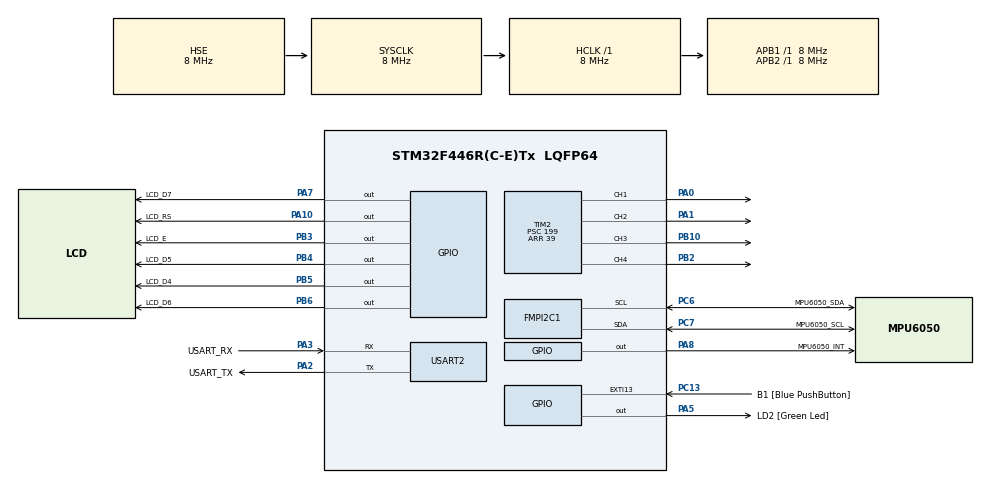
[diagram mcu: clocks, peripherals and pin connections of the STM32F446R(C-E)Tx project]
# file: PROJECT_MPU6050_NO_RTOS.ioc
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FMPI2C1.FMPI2C_Speed_Mode=FMPI2C_Fast
FMPI2C1.Timing=0x0000020B
Mcu.Family=STM32F4
Mcu.Name=STM32F446R(C-E)Tx
Mcu.Package=LQFP64
NVIC.PriorityGroup=NVIC_PRIORITYGROUP_0
NVIC.TIM2_IRQn=true\:0\:0\:false\:false\:true\:true\:true\:true
PA0-WKUP.Signal=S_TIM2_CH1_ETR
PA1.Signal=S_TIM2_CH2
PA10.GPIO_Label=LCD_RS
PA10.Signal=GPIO_Output
PA13.GPIO_Label=TMS
PA13.Mode=Serial_Wire
PA13.Signal=SYS_JTMS-SWDIO
PA14.GPIO_Label=TCK
PA14.Mode=Serial_Wire
PA14.Signal=SYS_JTCK-SWCLK
PA2.GPIO_Label=USART_TX
PA2.Mode=Asynchronous
PA2.Signal=USART2_TX
PA3.GPIO_Label=USART_RX
PA3.Mode=Asynchronous
PA3.Signal=USART2_RX
PA5.GPIO_Label=LD2 [Green Led]
PA5.Signal=GPIO_Output
PA7.GPIO_Label=LCD_D7
PA7.Signal=GPIO_Output
PA8.GPIO_Label=MPU6050_INT
PA8.Signal=GPIO_Output
PB10.Signal=S_TIM2_CH3
PB2.Signal=S_TIM2_CH4
PB3.GPIO_Label=LCD_E
PB3.Signal=GPIO_Output
PB4.GPIO_Label=LCD_D5
PB4.Signal=GPIO_Output
PB5.GPIO_Label=LCD_D4
PB5.Signal=GPIO_Output
PB6.GPIO_Label=LCD_D6
PB6.Signal=GPIO_Output
PC13.GPIO_Label=B1 [Blue PushButton]
PC13.GPIO_ModeDefaultEXTI=GPIO_MODE_IT_FALLING
PC13.Signal=GPXTI13
PC14-OSC32_IN.Mode=LSE-External-Oscillator
PC14-OSC32_IN.Signal=RCC_OSC32_IN
PC15-OSC32_OUT.Mode=LSE-External-Oscillator
PC15-OSC32_OUT.Signal=RCC_OSC32_OUT
PC6.GPIO_Label=MPU6050_SDA
PC6.Mode=I2C
PC6.Signal=FMPI2C1_SCL
PC7.GPIO_Label=MPU6050_SCL
PC7.Mode=I2C
PC7.Signal=FMPI2C1_SDA
PH0-OSC_IN.Mode=HSE-External-Oscillator
PH0-OSC_IN.Signal=RCC_OSC_IN
PH1-OSC_OUT.Mode=HSE-External-Oscillator
PH1-OSC_OUT.Signal=RCC_OSC_OUT
ProjectManager.HeapSize=0x200
ProjectManager.StackSize=0x400
ProjectManager.TargetToolchain=CMake
RCC.48MHZClocksFreq_Value=84000000
RCC.AHBFreq_Value=8000000
RCC.APB1Freq_Value=8000000
RCC.APB1TimFreq_Value=8000000
RCC.APB2Freq_Value=8000000
RCC.APB2TimFreq_Value=8000000
RCC.CortexFreq_Value=8000000
RCC.FLatency-AdvancedSettings=FLASH_LATENCY_0
RCC.HCLKFreq_Value=8000000
RCC.HSE_VALUE=8000000
RCC.HSI_VALUE=16000000
RCC.PLLN=336
RCC.PLLP=RCC_PLLP_DIV4
RCC.SYSCLKFreq_VALUE=8000000
RCC.SYSCLKSource=RCC_SYSCLKSOURCE_HSE
RCC.USBFreq_Value=168000000
RCC.VCOOutputFreq_Value=336000000
SH.S_TIM2_CH1_ETR.0=TIM2_CH1,PWM Generation1 CH1
SH.S_TIM2_CH2.0=TIM2_CH2,PWM Generation2 CH2
SH.S_TIM2_CH3.0=TIM2_CH3,PWM Generation3 CH3
SH.S_TIM2_CH4.0=TIM2_CH4,PWM Generation4 CH4
TIM2.Channel-PWM\ Generation1\ CH1=TIM_CHANNEL_1
TIM2.Channel-PWM\ Generation2\ CH2=TIM_CHANNEL_2
TIM2.Channel-PWM\ Generation3\ CH3=TIM_CHANNEL_3
TIM2.Channel-PWM\ Generation4\ CH4=TIM_CHANNEL_4
TIM2.Period=39
TIM2.Prescaler=199
TIM2.TIM_MasterOutputTrigger=TIM_TRGO_UPDATE
USART2.VirtualMode=VM_ASYNC
VP_TIM2_VS_ClockSourceINT.Mode=Internal
board=NUCLEO-F446RE

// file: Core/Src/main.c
/* USER CODE BEGIN Header */
/**
  ******************************************************************************
  * @file           : main.c
  * @brief          : Main program body
  ******************************************************************************
  * @attention
  *
  * Copyright (c) 2025 STMicroelectronics.
  * All rights reserved.
  *
  * This software is licensed under terms that can be found in the LICENSE file
  * in the root directory of this software component.
  * If no LICENSE file comes with this software, it is provided AS-IS.
  *
  ******************************************************************************
  */
/* USER CODE END Header */
#include "main.h"

FMPI2C_HandleTypeDef hfmpi2c1;

TIM_HandleTypeDef htim2;

UART_HandleTypeDef huart2;

void SystemClock_Config(void);
static void MX_GPIO_Init(void);
static void MX_USART2_UART_Init(void);
static void MX_FMPI2C1_Init(void);
static void MX_TIM2_Init(void);

/* USER CODE BEGIN 0 */

uint32_t g_counter = 0;
volatile uint32_t g_channel_1_state = 16;
volatile uint32_t g_channel_2_state = 8;

mpu6050_accel_data_t g_accel_data;
int16_t roll_angle;
int16_t roll_angle_filtered;
int16_t abs_roll_angle_filtered;
int16_t pitch_angle;
int16_t pitch_angle_filtered;
int16_t abs_pitch_angle_filtered;

const mpu6050_accel_data_t error_offset = {
  .x = 490,
  .y = -40,
  .z = 16788 - 16384
};

#define PWM_PULSE_MIN 0
#define PWM_PULSE_MAX 40

#define ANGLE_POS_MIN 0
#define ANGLE_POS_MAX 90

#define GRID_SIZE 10
char grid[GRID_SIZE][GRID_SIZE];
char uart_buffer[128];

// Normalize accelerometer value to grid index
int map_to_grid_index(int16_t accel, int16_t min_val, int16_t max_val) {
    if (accel < min_val) accel = min_val;
    if (accel > max_val) accel = max_val;
    return ((accel - min_val) * (GRID_SIZE - 1)) / (max_val - min_val);
}

void draw_grid(int16_t x, int16_t y) {
    // Clear screen and move cursor to home
    HAL_UART_Transmit(&huart2, (uint8_t*)"\033[2J\033[H", strlen("\033[2J\033[H"), 100);

    // Clear grid
    for (int i = 0; i < GRID_SIZE; i++)
        for (int j = 0; j < GRID_SIZE; j++)
            grid[i][j] = '.';

    // Map to grid coordinates
    int gx = map_to_grid_index(x, -16000, 16000);
    int gy = map_to_grid_index(y, -16000, 16000);

    grid[gy][gx] = 'X';  // Place marker

    // Print grid to UART
    for (int i = 0; i < GRID_SIZE; i++) {
        int idx = 0;
        for (int j = 0; j < GRID_SIZE; j++)
            uart_buffer[idx++] = grid[i][j];
        uart_buffer[idx++] = '\r';
        uart_buffer[idx++] = '\n';
        HAL_UART_Transmit(&huart2, (uint8_t *)uart_buffer, idx, 100);
    }

    HAL_UART_Transmit(&huart2, (uint8_t *)"\r\n", 2, 100); // newline
}

//map function: re-maps a number from one range to another

long map(long x, long in_min, long in_max, long out_min, long out_max){
  // perform mapping

  long result = (x - in_min) * (out_max - out_min) / (in_max - in_min) + out_min;

  //clam the result to the output range

  if (result > out_max){
    result = out_max;
  }else if (result < out_min){
    result = out_min;
  }
  return result;
}

void change_pwm_duty_cycle(uint32_t pwm_pulse, uint8_t timer_channel){
  __HAL_TIM_SET_COMPARE(&htim2, timer_channel, pwm_pulse);
}

/* USER CODE END 0 */

int main(void)
{

  /* USER CODE BEGIN 1 */
  float dt = 0;
  /* USER CODE END 1 */

  /* MCU Configuration--------------------------------------------------------*/

  /* Reset of all peripherals, Initializes the Flash interface and the Systick. */
  HAL_Init();

  /* Configure the system clock */
  SystemClock_Config();

  /* Initialize all configured peripherals */
  MX_GPIO_Init();
  MX_USART2_UART_Init();
  MX_FMPI2C1_Init();
  MX_TIM2_Init();
  /* USER CODE BEGIN 2 */

  KalmanFilter kf_roll;
  kalman_filter_init(&kf_roll);

  KalmanFilter kf_pitch;
  kalman_filter_init(&kf_pitch);

  if (mpu6050_init(&hfmpi2c1, MPU6050_I2C_ADDR) != MPU6050_OK){
    Error_Handler();
  }

#if 1
  if (mpu6050_configure_low_pass_filter(&hfmpi2c1, DLPF_CFG_21HZ) != MPU6050_OK){
    Error_Handler();
  }
#endif

  __HAL_TIM_ENABLE_IT(&htim2, TIM_IT_UPDATE);

  if (HAL_TIM_PWM_Start_IT(&htim2, TIM_CHANNEL_1) != HAL_OK){
    Error_Handler();
  }

  if (HAL_TIM_PWM_Start_IT(&htim2, TIM_CHANNEL_2) != HAL_OK){
    Error_Handler();
  }

  if (HAL_TIM_PWM_Start_IT(&htim2, TIM_CHANNEL_3) != HAL_OK){
    Error_Handler();
  }

  if (HAL_TIM_PWM_Start_IT(&htim2, TIM_CHANNEL_4) != HAL_OK){
    Error_Handler();
  }

  uint32_t previous_tick = HAL_GetTick();

  Lcd_PortType ports[] = { LCD_D4_GPIO_Port, LCD_D5_GPIO_Port, LCD_D6_GPIO_Port, LCD_D7_GPIO_Port };
  Lcd_PinType pins[] = {LCD_D4_Pin, LCD_D5_Pin, LCD_D6_Pin, LCD_D7_Pin};
  Lcd_HandleTypeDef lcd;
  lcd = Lcd_create(ports, pins, LCD_RS_GPIO_Port, LCD_RS_Pin, LCD_E_GPIO_Port, LCD_E_Pin, LCD_4_BIT_MODE);
  Lcd_cursor(&lcd, 0,1);
  Lcd_string(&lcd, "Orientation PWM");
  HAL_Delay(500);

  /* USER CODE END 2 */

  /* Infinite loop */
  while (1)
  {

    /* USER CODE BEGIN 3 */

    uint32_t current_tick = HAL_GetTick();
    dt = (current_tick - previous_tick) / 1000.0f;
    previous_tick = current_tick;

#ifdef PWM_DEBUG
    g_counter = __HAL_TIM_GET_COUNTER(&htim2);
#endif
    if (mpu6050_read_accelerometer_data(&hfmpi2c1, MPU6050_I2C_ADDR, &g_accel_data) != MPU6050_OK){
      Error_Handler();
    }

    g_accel_data = mpu6050_accelerometer_callibration(&error_offset, &g_accel_data);

    roll_angle = atan2(g_accel_data.y, g_accel_data.z) * (180 / M_PI);
    pitch_angle = atan2((-g_accel_data.x), sqrt(g_accel_data.y * g_accel_data.y + g_accel_data.z *g_accel_data.z)) * (180 / M_PI);

    roll_angle_filtered = (int16_t)kalman_filter_get_angle(&kf_roll, roll_angle, dt);
    pitch_angle_filtered = (int16_t)kalman_filter_get_angle(&kf_pitch, pitch_angle, dt);

    uint8_t raw_channel = (roll_angle_filtered < 0) ? TIM_CHANNEL_1 : TIM_CHANNEL_2;
    uint8_t pitch_channel = (pitch_angle_filtered < 0) ? TIM_CHANNEL_3 : TIM_CHANNEL_4;

    abs_roll_angle_filtered = (roll_angle_filtered < 0 ) ? -roll_angle_filtered : roll_angle_filtered;
    abs_pitch_angle_filtered = (pitch_angle_filtered < 0 ) ? -pitch_angle_filtered : pitch_angle_filtered;

    uint32_t raw_pwm_pulse = map(abs_roll_angle_filtered, ANGLE_POS_MIN, ANGLE_POS_MAX, PWM_PULSE_MIN, PWM_PULSE_MAX);
    uint32_t pitch_pwm_pulse = map(abs_pitch_angle_filtered, ANGLE_POS_MIN, ANGLE_POS_MAX, PWM_PULSE_MIN, PWM_PULSE_MAX);

    change_pwm_duty_cycle(raw_pwm_pulse, raw_channel);
    change_pwm_duty_cycle(pitch_pwm_pulse, pitch_channel);

    //draw_grid(-g_accel_data.y, -g_accel_data.x);
#if 0
    // Format buffer with roll and pitch
    char lcd_line1[17];
    char lcd_line2[17];

    snprintf(lcd_line1, sizeof(lcd_line1), "Roll: %+3d deg", roll_angle_filtered);
    snprintf(lcd_line2, sizeof(lcd_line2), "Pitch: %+3d deg", pitch_angle_filtered);

    // Clear screen and update LCD
    Lcd_clear(&lcd);
    Lcd_cursor(&lcd, 0, 0);
    Lcd_string(&lcd, lcd_line1);
    Lcd_cursor(&lcd, 1, 0);
    Lcd_string(&lcd, lcd_line2);
#endif
    //HAL_Delay(100);
  }
  /* USER CODE END 3 */
}

void SystemClock_Config(void)
{
  RCC_OscInitTypeDef RCC_OscInitStruct = {0};
  RCC_ClkInitTypeDef RCC_ClkInitStruct = {0};

  /** Configure the main internal regulator output voltage
  */
  __HAL_RCC_PWR_CLK_ENABLE();
  __HAL_PWR_VOLTAGESCALING_CONFIG(PWR_REGULATOR_VOLTAGE_SCALE3);

  /** Initializes the RCC Oscillators according to the specified parameters
  * in the RCC_OscInitTypeDef structure.
  */
  RCC_OscInitStruct.OscillatorType = RCC_OSCILLATORTYPE_HSE;
  RCC_OscInitStruct.HSEState = RCC_HSE_ON;
  RCC_OscInitStruct.PLL.PLLState = RCC_PLL_NONE;
  if (HAL_RCC_OscConfig(&RCC_OscInitStruct) != HAL_OK)
  {
    Error_Handler();
  }

  /** Initializes the CPU, AHB and APB buses clocks
  */
  RCC_ClkInitStruct.ClockType = RCC_CLOCKTYPE_HCLK|RCC_CLOCKTYPE_SYSCLK
                              |RCC_CLOCKTYPE_PCLK1|RCC_CLOCKTYPE_PCLK2;
  RCC_ClkInitStruct.SYSCLKSource = RCC_SYSCLKSOURCE_HSE;
  RCC_ClkInitStruct.AHBCLKDivider = RCC_SYSCLK_DIV1;
  RCC_ClkInitStruct.APB1CLKDivider = RCC_HCLK_DIV1;
  RCC_ClkInitStruct.APB2CLKDivider = RCC_HCLK_DIV1;

  if (HAL_RCC_ClockConfig(&RCC_ClkInitStruct, FLASH_LATENCY_0) != HAL_OK)
  {
    Error_Handler();
  }
}

static void MX_FMPI2C1_Init(void)
{

  hfmpi2c1.Instance = FMPI2C1;
  hfmpi2c1.Init.Timing = 0x0000020B;
  hfmpi2c1.Init.OwnAddress1 = 0;
  hfmpi2c1.Init.AddressingMode = FMPI2C_ADDRESSINGMODE_7BIT;
  hfmpi2c1.Init.DualAddressMode = FMPI2C_DUALADDRESS_DISABLE;
  hfmpi2c1.Init.OwnAddress2 = 0;
  hfmpi2c1.Init.OwnAddress2Masks = FMPI2C_OA2_NOMASK;
  hfmpi2c1.Init.GeneralCallMode = FMPI2C_GENERALCALL_DISABLE;
  hfmpi2c1.Init.NoStretchMode = FMPI2C_NOSTRETCH_DISABLE;
  if (HAL_FMPI2C_Init(&hfmpi2c1) != HAL_OK)
  {
    Error_Handler();
  }

  /** Configure Analogue filter
  */
  if (HAL_FMPI2CEx_ConfigAnalogFilter(&hfmpi2c1, FMPI2C_ANALOGFILTER_ENABLE) != HAL_OK)
  {
    Error_Handler();
  }

}

static void MX_TIM2_Init(void)
{

  TIM_ClockConfigTypeDef sClockSourceConfig = {0};
  TIM_MasterConfigTypeDef sMasterConfig = {0};
  TIM_OC_InitTypeDef sConfigOC = {0};

  htim2.Instance = TIM2;
  htim2.Init.Prescaler = 199;
  htim2.Init.CounterMode = TIM_COUNTERMODE_UP;
  htim2.Init.Period = 39;
  htim2.Init.ClockDivision = TIM_CLOCKDIVISION_DIV1;
  htim2.Init.AutoReloadPreload = TIM_AUTORELOAD_PRELOAD_DISABLE;
  if (HAL_TIM_Base_Init(&htim2) != HAL_OK)
  {
    Error_Handler();
  }
  sClockSourceConfig.ClockSource = TIM_CLOCKSOURCE_INTERNAL;
  if (HAL_TIM_ConfigClockSource(&htim2, &sClockSourceConfig) != HAL_OK)
  {
    Error_Handler();
  }
  if (HAL_TIM_PWM_Init(&htim2) != HAL_OK)
  {
    Error_Handler();
  }
  sMasterConfig.MasterOutputTrigger = TIM_TRGO_UPDATE;
  sMasterConfig.MasterSlaveMode = TIM_MASTERSLAVEMODE_DISABLE;
  if (HAL_TIMEx_MasterConfigSynchronization(&htim2, &sMasterConfig) != HAL_OK)
  {
    Error_Handler();
  }
  sConfigOC.OCMode = TIM_OCMODE_PWM1;
  sConfigOC.Pulse = 0;
  sConfigOC.OCPolarity = TIM_OCPOLARITY_HIGH;
  sConfigOC.OCFastMode = TIM_OCFAST_DISABLE;
  if (HAL_TIM_PWM_ConfigChannel(&htim2, &sConfigOC, TIM_CHANNEL_1) != HAL_OK)
  {
    Error_Handler();
  }
  if (HAL_TIM_PWM_ConfigChannel(&htim2, &sConfigOC, TIM_CHANNEL_2) != HAL_OK)
  {
    Error_Handler();
  }
  if (HAL_TIM_PWM_ConfigChannel(&htim2, &sConfigOC, TIM_CHANNEL_3) != HAL_OK)
  {
    Error_Handler();
  }
  if (HAL_TIM_PWM_ConfigChannel(&htim2, &sConfigOC, TIM_CHANNEL_4) != HAL_OK)
  {
    Error_Handler();
  }
  HAL_TIM_MspPostInit(&htim2);

}

static void MX_USART2_UART_Init(void)
{

  huart2.Instance = USART2;
  huart2.Init.BaudRate = 115200;
  huart2.Init.WordLength = UART_WORDLENGTH_8B;
  huart2.Init.StopBits = UART_STOPBITS_1;
  huart2.Init.Parity = UART_PARITY_NONE;
  huart2.Init.Mode = UART_MODE_TX_RX;
  huart2.Init.HwFlowCtl = UART_HWCONTROL_NONE;
  huart2.Init.OverSampling = UART_OVERSAMPLING_16;
  if (HAL_UART_Init(&huart2) != HAL_OK)
  {
    Error_Handler();
  }

}

static void MX_GPIO_Init(void)
{
  GPIO_InitTypeDef GPIO_InitStruct = {0};

  /* GPIO Ports Clock Enable */
  __HAL_RCC_GPIOC_CLK_ENABLE();
  __HAL_RCC_GPIOH_CLK_ENABLE();
  __HAL_RCC_GPIOA_CLK_ENABLE();
  __HAL_RCC_GPIOB_CLK_ENABLE();

  /*Configure GPIO pin Output Level */
  HAL_GPIO_WritePin(GPIOA, LD2_Pin|LCD_D7_Pin|MPU6050_INT_Pin|LCD_RS_Pin, GPIO_PIN_RESET);

  /*Configure GPIO pin Output Level */
  HAL_GPIO_WritePin(GPIOB, LCD_E_Pin|LCD_D5_Pin|LCD_D4_Pin|LCD_D6_Pin, GPIO_PIN_RESET);

  /*Configure GPIO pin : B1_Pin */
  GPIO_InitStruct.Pin = B1_Pin;
  GPIO_InitStruct.Mode = GPIO_MODE_IT_FALLING;
  GPIO_InitStruct.Pull = GPIO_NOPULL;
  HAL_GPIO_Init(B1_GPIO_Port, &GPIO_InitStruct);

  /*Configure GPIO pins : LD2_Pin LCD_D7_Pin MPU6050_INT_Pin LCD_RS_Pin */
  GPIO_InitStruct.Pin = LD2_Pin|LCD_D7_Pin|MPU6050_INT_Pin|LCD_RS_Pin;
  GPIO_InitStruct.Mode = GPIO_MODE_OUTPUT_PP;
  GPIO_InitStruct.Pull = GPIO_NOPULL;
  GPIO_InitStruct.Speed = GPIO_SPEED_FREQ_LOW;
  HAL_GPIO_Init(GPIOA, &GPIO_InitStruct);

  /*Configure GPIO pins : LCD_E_Pin LCD_D5_Pin LCD_D4_Pin LCD_D6_Pin */
  GPIO_InitStruct.Pin = LCD_E_Pin|LCD_D5_Pin|LCD_D4_Pin|LCD_D6_Pin;
  GPIO_InitStruct.Mode = GPIO_MODE_OUTPUT_PP;
  GPIO_InitStruct.Pull = GPIO_NOPULL;
  GPIO_InitStruct.Speed = GPIO_SPEED_FREQ_LOW;
  HAL_GPIO_Init(GPIOB, &GPIO_InitStruct);

}

void Error_Handler(void)
{
  __disable_irq();
  while (1)
  {
  }
}
